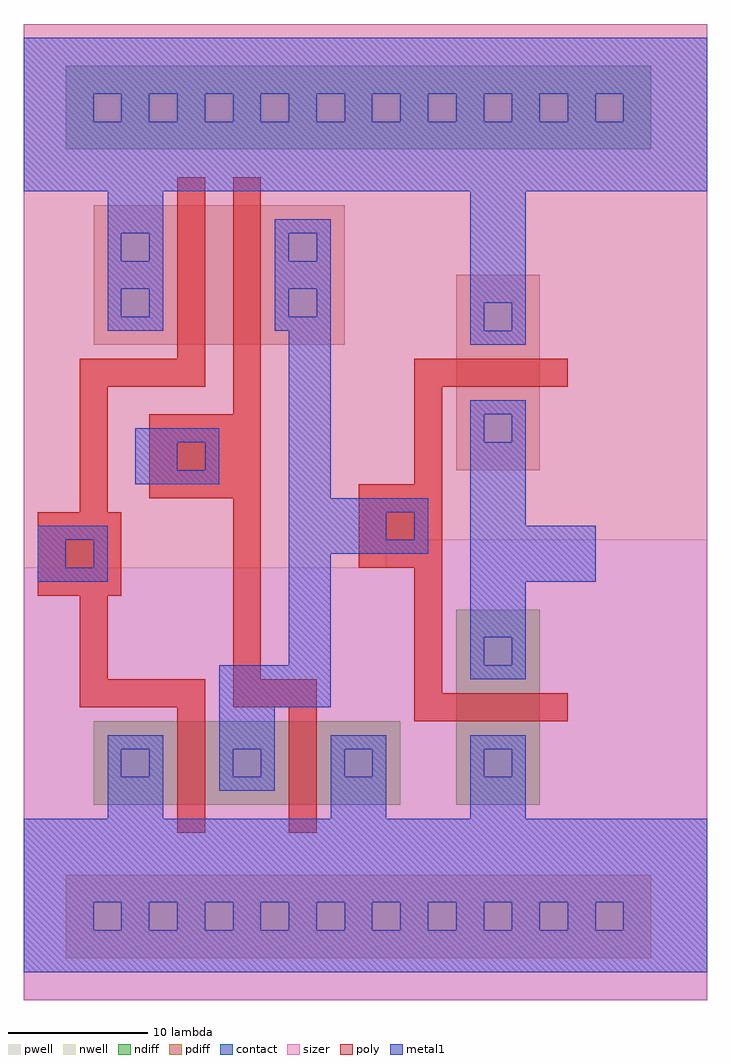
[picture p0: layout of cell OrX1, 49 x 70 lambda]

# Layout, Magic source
magic
tech LibreSilicon-test000-concept-mg-70-7
<< sizer >>
rect 0 0 49 70
<< metal1 >>
rect 0 65 49 69
rect 0 63 5 65
rect 7 63 9 65
rect 11 63 13 65
rect 15 63 17 65
rect 19 63 21 65
rect 23 63 25 65
rect 27 63 29 65
rect 31 63 33 65
rect 35 63 37 65
rect 39 63 41 65
rect 43 63 49 65
rect 0 58 49 63
rect 6 55 10 58
rect 32 50 36 58
rect 18 55 22 56
rect 6 53 7 55
rect 9 53 10 55
rect 18 53 19 55
rect 21 53 22 55
rect 6 51 10 53
rect 18 51 22 53
rect 6 49 7 51
rect 9 49 10 51
rect 18 49 19 51
rect 21 49 22 51
rect 32 48 33 50
rect 35 48 36 50
rect 6 48 10 49
rect 18 48 22 49
rect 19 36 22 48
rect 32 47 36 48
rect 32 42 36 43
rect 32 40 33 42
rect 35 40 36 42
rect 8 40 14 41
rect 8 38 11 40
rect 13 38 14 40
rect 32 34 36 40
rect 8 37 14 38
rect 19 35 29 36
rect 19 33 26 35
rect 28 33 29 35
rect 1 33 6 34
rect 32 30 41 34
rect 1 31 3 33
rect 5 31 6 33
rect 19 32 29 33
rect 19 24 22 32
rect 1 30 6 31
rect 32 26 36 30
rect 32 24 33 26
rect 35 24 36 26
rect 14 21 22 24
rect 32 23 36 24
rect 14 18 18 21
rect 6 18 10 19
rect 22 18 26 19
rect 32 18 36 19
rect 6 16 7 18
rect 9 16 10 18
rect 14 16 15 18
rect 17 16 18 18
rect 22 16 23 18
rect 25 16 26 18
rect 32 16 33 18
rect 35 16 36 18
rect 6 13 10 16
rect 14 15 18 16
rect 22 13 26 16
rect 32 13 36 16
rect 0 7 49 13
rect 0 5 5 7
rect 7 5 9 7
rect 11 5 13 7
rect 15 5 17 7
rect 19 5 21 7
rect 23 5 25 7
rect 27 5 29 7
rect 31 5 33 7
rect 35 5 37 7
rect 39 5 41 7
rect 43 5 49 7
rect 0 2 49 5
<< contact >>
rect 5 63 7 65
rect 9 63 11 65
rect 13 63 15 65
rect 17 63 19 65
rect 21 63 23 65
rect 25 63 27 65
rect 29 63 31 65
rect 33 63 35 65
rect 37 63 39 65
rect 41 63 43 65
rect 7 53 9 55
rect 19 53 21 55
rect 7 49 9 51
rect 19 49 21 51
rect 33 48 35 50
rect 33 40 35 42
rect 11 38 13 40
rect 26 33 28 35
rect 3 31 5 33
rect 33 24 35 26
rect 7 16 9 18
rect 15 16 17 18
rect 23 16 25 18
rect 33 16 35 18
rect 5 5 7 7
rect 9 5 11 7
rect 13 5 15 7
rect 17 5 19 7
rect 21 5 23 7
rect 25 5 27 7
rect 29 5 31 7
rect 33 5 35 7
rect 37 5 39 7
rect 41 5 43 7
<< poly >>
rect 11 46 13 59
rect 15 42 17 59
rect 4 44 13 46
rect 28 44 39 46
rect 4 35 6 44
rect 28 37 30 44
rect 9 36 17 42
rect 24 31 30 37
rect 15 23 17 36
rect 1 29 7 35
rect 28 22 30 31
rect 4 23 6 29
rect 4 21 13 23
rect 15 21 21 23
rect 28 20 39 22
rect 11 12 13 21
rect 19 12 21 21
<< ndiff >>
rect 3 61 45 67
rect 31 14 37 28
rect 5 14 27 20
<< pdiff >>
rect 5 47 23 57
rect 31 38 37 52
rect 3 3 45 9
<< nwell >>
rect 0 33 49 70
rect 0 31 26 33
<< pwell >>
rect 26 31 49 33
rect 0 0 49 31
<< end >>
